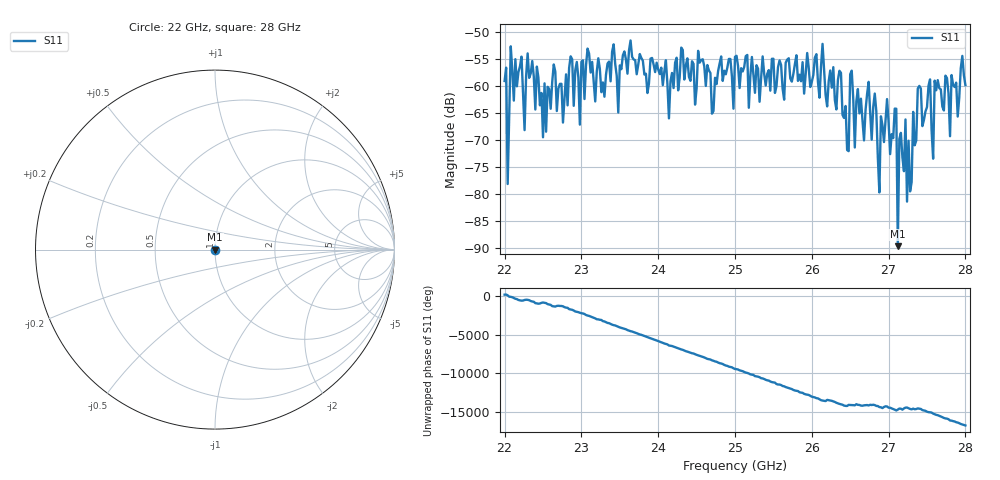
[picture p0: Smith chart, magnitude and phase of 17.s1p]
#  HZ  S  RI  R  50.00
! Rohde & Schwarz ZVA40 4Ports - Version 3.90 - 1145.1110k42 SN: 100403
! Date: 2023-10-04 08:12:18
! Measurement: S12
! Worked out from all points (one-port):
!   301 points, 22 GHz to 28 GHz, reference 50 ohm
!   lowest |S11| = -89.6 dB at 27.12 GHz (marker M1), VSWR 1.00, Z = 50 + j0.00329 ohm
!   |S11| at or under -10 dB: start of sweep to end of sweep
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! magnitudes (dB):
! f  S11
! 22 GHz  -59.1
! 22.02 GHz  -56.6
! 22.04 GHz  -78.1
! 22.08 GHz  -52.7
! 22.22 GHz  -54.6
! 22.26 GHz  -68.2
! 22.3 GHz  -54.0
! 22.5 GHz  -69.5
! 22.64 GHz  -56.0
! 22.76 GHz  -66.8
! 22.86 GHz  -54.5
! 22.98 GHz  -67.2
! 23.08 GHz  -53.1
! 23.5 GHz  -56.2
! 24.26 GHz  -60.8
! 25 GHz  -54.6
! 25.76 GHz  -57.8
! 26.14 GHz  -52.2
! 26.48 GHz  -72.1
! 26.5 GHz  -57.8
! 26.56 GHz  -71.4
! 26.82 GHz  -61.4
! 26.88 GHz  -79.7
! 26.9 GHz  -65.6
! 27.1 GHz  -64.2
! 27.12 GHz  -89.6
! 27.26 GHz  -70.1
! 28 GHz  -59.8
